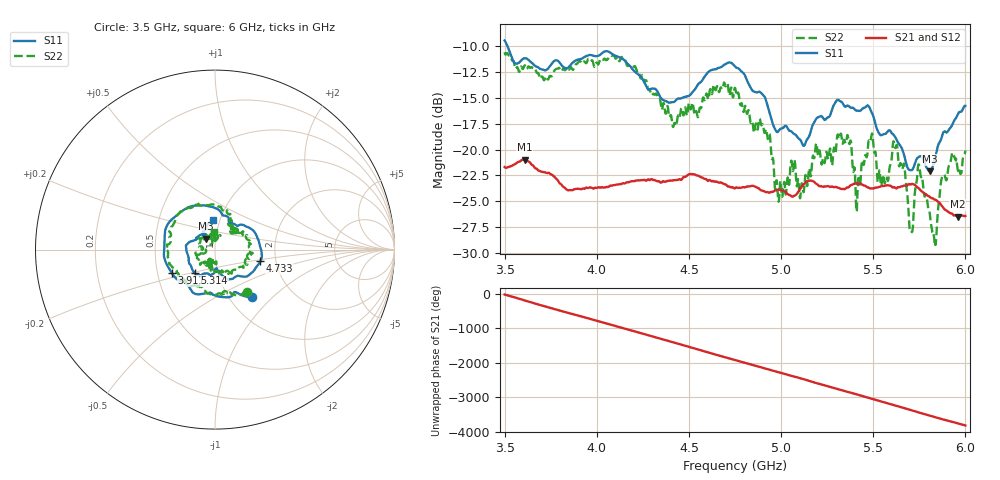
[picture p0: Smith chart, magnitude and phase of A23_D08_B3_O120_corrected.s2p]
! Created with skrf 1.9.0 (http://scikit-rf.org).
# Hz S RI R 50.0
!freq ReS11 ImS11 ReS21 ImS21 ReS12 ImS12 ReS22 ImS22
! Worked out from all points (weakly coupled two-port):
!   1601 points, 3.5 GHz to 6 GHz, reference 50 ohm
!   highest |S21| = -20.97 dB at 3.609 GHz (marker M1); lowest = -26.5 dB at 5.958 GHz (marker M2)
!   lowest |S11| = -22.1 dB at 5.806 GHz (marker M3), VSWR 1.17, Z = 45.1 + j5.6 ohm
!   |S11| at or under -10 dB: 3.516 GHz to end of sweep
!   |S22| runs from -29.4 to -10.6 dB; largest |S21 - S12| = 0.0011
!   S11 on the Smith chart (normalised r, x): 3.5 GHz: 1.27, -0.76; 3.911 GHz: 0.59, -0.17; 4.733 GHz: 1.66, -0.23; 5.314 GHz: 0.77, -0.21; 6 GHz: 0.93, +0.31
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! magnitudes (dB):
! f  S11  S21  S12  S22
! 3.5 GHz  -9.5  -21.7  -21.7  -10.6
! 3.609 GHz  -11.2  -21.0  -21.0  -11.9
! 3.911 GHz  -11.3  -23.8  -23.8  -11.5
! 3.917 GHz  -11.2  -23.8  -23.8  -11.6
! 4.334 GHz  -14.6  -23.1  -23.0  -15.0
! 4.733 GHz  -11.7  -23.7  -23.7  -14.2
! 4.75 GHz  -12.0  -23.8  -23.7  -14.0
! 4.928 GHz  -15.9  -24.1  -24.1  -19.0
! 4.978 GHz  -18.3  -23.9  -23.9  -23.3
! 5.167 GHz  -17.8  -23.0  -23.0  -21.5
! 5.314 GHz  -15.2  -23.7  -23.7  -18.9
! 5.416 GHz  -16.2  -23.3  -23.4  -23.7
! 5.486 GHz  -16.2  -23.8  -23.7  -19.1
! 5.584 GHz  -18.2  -23.5  -23.5  -22.5
! 5.619 GHz  -18.8  -23.7  -23.7  -19.8
! 5.705 GHz  -22.0  -23.4  -23.4  -27.8
! 5.75 GHz  -20.7  -23.8  -23.8  -21.7
! 5.806 GHz  -22.1  -24.6  -24.6  -26.1
! 5.833 GHz  -21.1  -24.8  -24.8  -29.0
! 5.875 GHz  -18.6  -25.5  -25.5  -22.6
! 5.958 GHz  -16.6  -26.5  -26.4  -21.9
! 6 GHz  -15.8  -26.4  -26.4  -20.1
